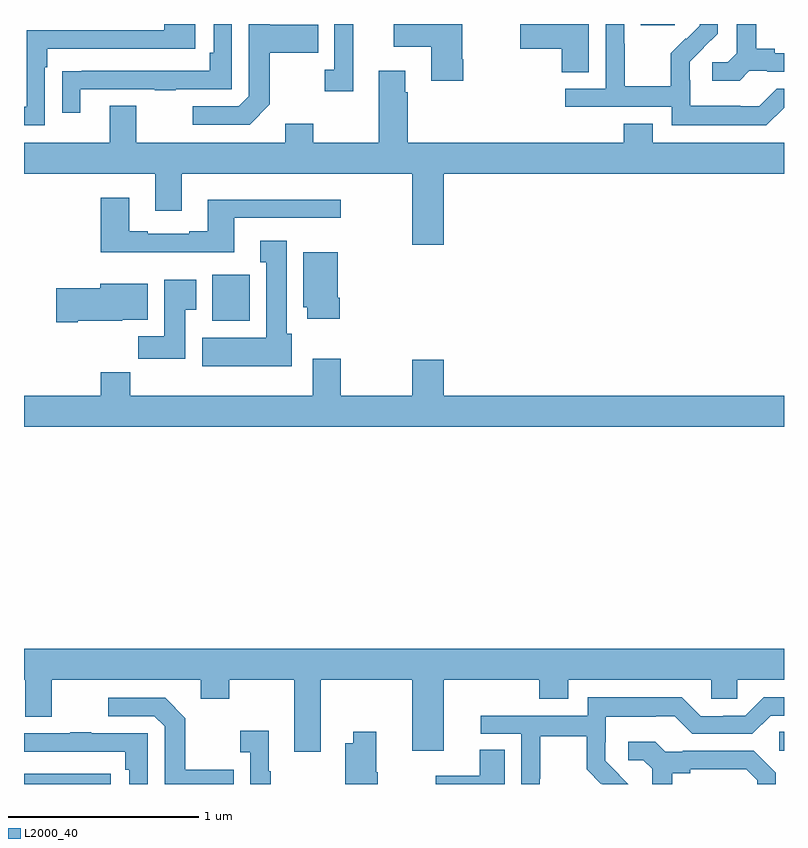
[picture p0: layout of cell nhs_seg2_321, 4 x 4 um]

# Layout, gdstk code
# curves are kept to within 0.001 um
import gdstk
lib = gdstk.Library(unit=1e-6, precision=1e-09)
def R(c, l, rs):  # rectangles x0, y0, x1, y1
    for r in rs: c.add(gdstk.rectangle(r[:2], r[2:], *l))
def P(c, l, *ps):  # polygons
    for p in ps: c.add(gdstk.Polygon(p, *l))
L2000_40 = (2000, 40)

nhs_seg2_321 = lib.new_cell('nhs_seg2_321')
R(nhs_seg2_321, L2000_40, [(127,601.8,127.456,601.854), (130.974,601.974,131,602.075), (127.991,604.238,128.188,604.48), (130.247,605.793,130.426,605.8)])
P(nhs_seg2_321, L2000_40, [(129.311,605.614),(129.306,605.614),(129.306,605.8),(128.946,605.8),(128.946,605.681),(129.143,605.681),(129.143,605.502),(129.311,605.502)],
  [(129.973,605.8),(129.612,605.8),(129.612,605.669),(129.83,605.669),(129.83,605.545),(129.973,605.545)],
  [(130.818,605.553),(130.912,605.553),(130.912,605.55),(131,605.55),(131,605.646),(130.951,605.646),(130.951,605.669),(130.855,605.669),(130.855,605.8),(130.751,605.8),(130.751,605.645),(130.704,605.598),(130.623,605.598),(130.623,605.501),(130.766,605.501)],
  [(131,605.36),(131,605.46),(130.962,605.46),(130.869,605.367),(130.769,605.367),(130.769,605.371),(130.506,605.371),(130.506,605.505),(130.504,605.505),(130.504,605.602),(130.65,605.75),(130.65,605.8),(130.556,605.8),(130.556,605.792),(130.485,605.721),(130.482,605.724),(130.405,605.647),(130.405,605.473),(130.161,605.473),(130.161,605.696),(130.158,605.696),(130.158,605.8),(130.062,605.8),(130.062,605.46),(129.849,605.46),(129.849,605.364),(130.41,605.364),(130.41,605.267),(130.907,605.267)],
  [(128.732,605.8),(128.634,605.8),(128.634,605.558),(128.583,605.558),(128.583,605.445),(128.732,605.445)],
  [(127.297,605.457),(127.687,605.457),(127.687,605.452),(127.799,605.452),(127.799,605.457),(128.094,605.457),(128.094,605.8),(127.998,605.8),(127.998,605.65),(127.978,605.65),(127.978,605.553),(127.303,605.553),(127.303,605.552),(127.201,605.552),(127.201,605.334),(127.297,605.334)],
  [(127.11,605.573),(127.123,605.573),(127.123,605.67),(127.9,605.67),(127.9,605.8),(127.739,605.8),(127.739,605.766),(127.014,605.766),(127.014,605.364),(127,605.364),(127,605.268),(127.11,605.268)],
  [(128.293,605.377),(128.293,605.65),(128.549,605.65),(128.549,605.797),(128.293,605.797),(128.293,605.8),(128.184,605.8),(128.184,605.421),(128.13,605.367),(127.887,605.367),(127.887,605.271),(128.187,605.271)],
  [(129.208,605.012),(131,605.012),(131,605.176),(130.309,605.176),(130.309,605.275),(130.157,605.275),(130.157,605.176),(129.02,605.176),(129.02,605.441),(129.007,605.441),(129.007,605.554),(128.867,605.554),(128.867,605.176),(128.523,605.176),(128.523,605.275),(128.375,605.275),(128.375,605.176),(127.591,605.176),(127.591,605.371),(127.451,605.371),(127.451,605.176),(127,605.176),(127,605.012),(127.691,605.012),(127.691,604.818),(127.831,604.818),(127.831,605.012),(129.044,605.012),(129.044,604.638),(129.208,604.638)],
  [(128.107,604.779),(128.668,604.779),(128.668,604.876),(127.967,604.876),(127.967,604.708),(127.871,604.708),(127.871,604.695),(127.651,604.695),(127.651,604.708),(127.555,604.708),(127.555,604.885),(127.403,604.885),(127.403,604.598),(128.107,604.598)],
  [(128.41,604.17),(128.383,604.17),(128.383,604.66),(128.243,604.66),(128.243,604.547),(128.276,604.547),(128.276,604.15),(127.937,604.15),(127.937,603.998),(128.41,603.998)],
  [(128.663,604.36),(128.65,604.36),(128.65,604.6),(128.471,604.6),(128.471,604.308),(128.492,604.308),(128.492,604.248),(128.663,604.248)],
  [(127.849,604.297),(127.906,604.297),(127.906,604.453),(127.739,604.453),(127.739,604.156),(127.6,604.156),(127.6,604.038),(127.849,604.038)],
  [(127.282,604.238),(127.518,604.238),(127.518,604.244),(127.651,604.244),(127.651,604.432),(127.4,604.432),(127.4,604.409),(127.17,604.409),(127.17,604.231),(127.282,604.231)],
  [(131,603.844),(129.208,603.844),(129.208,604.033),(129.044,604.033),(129.044,603.844),(128.667,603.844),(128.667,604.039),(128.519,604.039),(128.519,603.844),(127.559,603.844),(127.559,603.968),(127.403,603.968),(127.403,603.844),(127,603.844),(127,603.68),(131,603.68)],
  [(128.563,602.348),(129.044,602.348),(129.044,601.974),(129.208,601.974),(129.208,602.348),(129.713,602.348),(129.713,602.249),(129.865,602.249),(129.865,602.348),(130.617,602.348),(130.617,602.25),(130.755,602.25),(130.755,602.348),(131,602.348),(131,602.512),(127,602.512),(127,602.348),(127.007,602.348),(127.007,602.154),(127.147,602.154),(127.147,602.348),(127.931,602.348),(127.931,602.249),(128.079,602.249),(128.079,602.348),(128.423,602.348),(128.423,601.971),(128.563,601.971)],
  [(129.714,601.828),(129.717,601.828),(129.717,602.052),(129.961,602.052),(129.961,601.877),(130.038,601.8),(130.041,601.803),(130.044,601.8),(130.18,601.8),(130.06,601.922),(130.06,602.019),(130.062,602.019),(130.062,602.153),(130.325,602.153),(130.325,602.157),(130.425,602.157),(130.518,602.064),(130.833,602.064),(130.929,602.16),(131,602.16),(131,602.256),(130.893,602.256),(130.797,602.16),(130.679,602.16),(130.679,602.157),(130.563,602.157),(130.463,602.257),(129.966,602.257),(129.966,602.16),(129.405,602.16),(129.405,602.064),(129.618,602.064),(129.618,601.8),(129.714,601.8)],
  [(128.105,601.875),(127.849,601.875),(127.849,602.147),(127.743,602.253),(127.443,602.253),(127.443,602.157),(127.686,602.157),(127.74,602.103),(127.74,601.8),(128.105,601.8)],
  [(128.299,601.867),(128.287,601.867),(128.287,602.08),(128.139,602.08),(128.139,601.967),(128.19,601.967),(128.19,601.8),(128.299,601.8)],
  [(128.862,601.861),(128.854,601.861),(128.854,602.074),(128.732,602.074),(128.732,602.014),(128.692,602.014),(128.692,601.8),(128.862,601.8)],
  [(127.65,602.067),(127.355,602.067),(127.355,602.072),(127.243,602.072),(127.243,602.067),(127,602.067),(127,601.971),(127.534,601.971),(127.534,601.874),(127.554,601.874),(127.554,601.8),(127.65,601.8)],
  [(130.411,601.856),(130.507,601.856),(130.507,601.878),(130.802,601.878),(130.859,601.821),(130.859,601.8),(130.956,601.8),(130.956,601.858),(130.84,601.974),(130.468,601.974),(130.468,601.971),(130.374,601.971),(130.322,602.023),(130.179,602.023),(130.179,601.926),(130.26,601.926),(130.307,601.879),(130.307,601.8),(130.411,601.8)],
  [(129.529,601.979),(129.398,601.979),(129.398,601.843),(129.168,601.843),(129.168,601.8),(129.529,601.8)])

lib.write_gds('nhs_seg2_321.gds')
